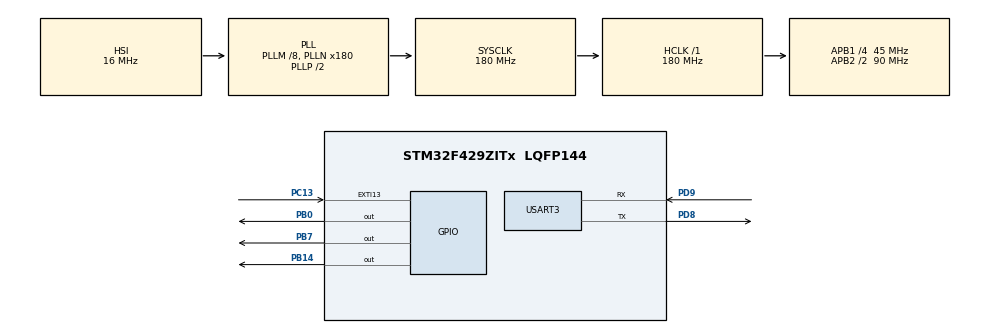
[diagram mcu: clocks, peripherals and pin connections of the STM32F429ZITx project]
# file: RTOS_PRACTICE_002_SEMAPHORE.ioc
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FREERTOS.BinarySemaphores01=myBinarySem01,Dynamic,NULL
FREERTOS.Tasks01=defaultTask,24,128,StartDefaultTask,Default,NULL,Dynamic,NULL,NULL
FREERTOS.configUSE_NEWLIB_REENTRANT=1
Mcu.Family=STM32F4
Mcu.Name=STM32F429ZITx
Mcu.Package=LQFP144
NVIC.EXTI15_10_IRQn=true\:0\:0\:false\:true\:true\:1\:false\:true\:true\:true
NVIC.PriorityGroup=NVIC_PRIORITYGROUP_4
NVIC.TIM5_IRQn=true\:15\:0\:false\:false\:true\:false\:false\:true\:true
NVIC.TimeBase=TIM5_IRQn
NVIC.TimeBaseIP=TIM5
NVIC.USART3_IRQn=true\:5\:0\:false\:true\:true\:2\:true\:true\:true\:true
PA13.Mode=Serial_Wire
PA13.Signal=SYS_JTMS-SWDIO
PA14.Mode=Serial_Wire
PA14.Signal=SYS_JTCK-SWCLK
PB0.Signal=GPIO_Output
PB14.Signal=GPIO_Output
PB7.Signal=GPIO_Output
PC13.Signal=GPXTI13
PC14/OSC32_IN.Mode=LSE-External-Oscillator
PC14/OSC32_IN.Signal=RCC_OSC32_IN
PC15/OSC32_OUT.Mode=LSE-External-Oscillator
PC15/OSC32_OUT.Signal=RCC_OSC32_OUT
PD8.Mode=Asynchronous
PD8.Signal=USART3_TX
PD9.Mode=Asynchronous
PD9.Signal=USART3_RX
ProjectManager.HeapSize=0x200
ProjectManager.StackSize=0x400
ProjectManager.TargetToolchain=STM32CubeIDE
RCC.48MHZClocksFreq_Value=90000000
RCC.AHBFreq_Value=180000000
RCC.APB1CLKDivider=RCC_HCLK_DIV4
RCC.APB1Freq_Value=45000000
RCC.APB1TimFreq_Value=90000000
RCC.APB2CLKDivider=RCC_HCLK_DIV2
RCC.APB2Freq_Value=90000000
RCC.APB2TimFreq_Value=180000000
RCC.CortexFreq_Value=180000000
RCC.HCLKFreq_Value=180000000
RCC.HSE_VALUE=25000000
RCC.HSI_VALUE=16000000
RCC.PLLM=8
RCC.PLLN=180
RCC.RCC_RTC_Clock_Source=RCC_RTCCLKSOURCE_LSE
RCC.SYSCLKFreq_VALUE=180000000
RCC.SYSCLKSource=RCC_SYSCLKSOURCE_PLLCLK
RCC.VCOOutputFreq_Value=360000000
USART3.VirtualMode=VM_ASYNC
VP_FREERTOS_VS_CMSIS_V2.Mode=CMSIS_V2
VP_RTC_VS_RTC_Activate.Mode=RTC_Enabled
VP_SYS_VS_tim5.Mode=TIM5
board=custom

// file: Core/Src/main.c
/* USER CODE BEGIN Header */
/**
  ******************************************************************************
  * @file           : main.c
  * @brief          : Main program body
  ******************************************************************************
  * @attention
  *
  * Copyright (c) 2022 STMicroelectronics.
  * All rights reserved.
  *
  * This software is licensed under terms that can be found in the LICENSE file
  * in the root directory of this software component.
  * If no LICENSE file comes with this software, it is provided AS-IS.
  *
  ******************************************************************************
  */
/* USER CODE END Header */
#include "main.h"
#include "cmsis_os.h"
#include "rtc.h"
#include "usart.h"
#include "gpio.h"

void SystemClock_Config(void);
void MX_FREERTOS_Init(void);
static void MX_NVIC_Init(void);

int main(void)
{

  /* MCU Configuration--------------------------------------------------------*/

  /* Reset of all peripherals, Initializes the Flash interface and the Systick. */
  HAL_Init();

  /* Configure the system clock */
  SystemClock_Config();

  /* Initialize all configured peripherals */
  MX_GPIO_Init();
  MX_RTC_Init();
  MX_USART3_UART_Init();

  /* Initialize interrupts */
  MX_NVIC_Init();

  /* Init scheduler */
  osKernelInitialize();  /* Call init function for freertos objects (in freertos.c) */
  MX_FREERTOS_Init();

  /* Start scheduler */
  osKernelStart();

  /* We should never get here as control is now taken by the scheduler */
  /* Infinite loop */
  while (1)
  {

  }
}

void SystemClock_Config(void)
{
  RCC_OscInitTypeDef RCC_OscInitStruct = {0};
  RCC_ClkInitTypeDef RCC_ClkInitStruct = {0};

  /** Configure the main internal regulator output voltage
  */
  __HAL_RCC_PWR_CLK_ENABLE();
  __HAL_PWR_VOLTAGESCALING_CONFIG(PWR_REGULATOR_VOLTAGE_SCALE1);

  /** Initializes the RCC Oscillators according to the specified parameters
  * in the RCC_OscInitTypeDef structure.
  */
  RCC_OscInitStruct.OscillatorType = RCC_OSCILLATORTYPE_HSI|RCC_OSCILLATORTYPE_LSE;
  RCC_OscInitStruct.LSEState = RCC_LSE_ON;
  RCC_OscInitStruct.HSIState = RCC_HSI_ON;
  RCC_OscInitStruct.HSICalibrationValue = RCC_HSICALIBRATION_DEFAULT;
  RCC_OscInitStruct.PLL.PLLState = RCC_PLL_ON;
  RCC_OscInitStruct.PLL.PLLSource = RCC_PLLSOURCE_HSI;
  RCC_OscInitStruct.PLL.PLLM = 8;
  RCC_OscInitStruct.PLL.PLLN = 180;
  RCC_OscInitStruct.PLL.PLLP = RCC_PLLP_DIV2;
  RCC_OscInitStruct.PLL.PLLQ = 4;
  if (HAL_RCC_OscConfig(&RCC_OscInitStruct) != HAL_OK)
  {
    Error_Handler();
  }

  /** Activate the Over-Drive mode
  */
  if (HAL_PWREx_EnableOverDrive() != HAL_OK)
  {
    Error_Handler();
  }

  /** Initializes the CPU, AHB and APB buses clocks
  */
  RCC_ClkInitStruct.ClockType = RCC_CLOCKTYPE_HCLK|RCC_CLOCKTYPE_SYSCLK
                              |RCC_CLOCKTYPE_PCLK1|RCC_CLOCKTYPE_PCLK2;
  RCC_ClkInitStruct.SYSCLKSource = RCC_SYSCLKSOURCE_PLLCLK;
  RCC_ClkInitStruct.AHBCLKDivider = RCC_SYSCLK_DIV1;
  RCC_ClkInitStruct.APB1CLKDivider = RCC_HCLK_DIV4;
  RCC_ClkInitStruct.APB2CLKDivider = RCC_HCLK_DIV2;

  if (HAL_RCC_ClockConfig(&RCC_ClkInitStruct, FLASH_LATENCY_5) != HAL_OK)
  {
    Error_Handler();
  }
}

/**
  * @brief NVIC Configuration.
  * @retval None
  */
static void MX_NVIC_Init(void)
{
  /* EXTI15_10_IRQn interrupt configuration */
  HAL_NVIC_SetPriority(EXTI15_10_IRQn, 0, 0);
  HAL_NVIC_EnableIRQ(EXTI15_10_IRQn);
  /* USART3_IRQn interrupt configuration */
  HAL_NVIC_SetPriority(USART3_IRQn, 5, 0);
  HAL_NVIC_EnableIRQ(USART3_IRQn);
}

void HAL_TIM_PeriodElapsedCallback(TIM_HandleTypeDef *htim)
{
  if (htim->Instance == TIM5) {
    HAL_IncTick();
  }
}

void Error_Handler(void)
{
  __disable_irq();
  while (1)
  {
  }
}

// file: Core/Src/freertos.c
/* USER CODE BEGIN Header */
/**
  ******************************************************************************
  * File Name          : freertos.c
  * Description        : Code for freertos applications
  ******************************************************************************
  * @attention
  *
  * Copyright (c) 2022 STMicroelectronics.
  * All rights reserved.
  *
  * This software is licensed under terms that can be found in the LICENSE file
  * in the root directory of this software component.
  * If no LICENSE file comes with this software, it is provided AS-IS.
  *
  ******************************************************************************
  */
/* USER CODE END Header */

#include "FreeRTOS.h"
#include "task.h"
#include "main.h"
#include "cmsis_os.h"

/* USER CODE BEGIN Variables */
osThreadId_t LD1_ThreadHandle;
const osThreadAttr_t LD1Task_attributes = {
  .name = "LD1",
  .stack_size = 128 * 4,
  .priority = (osPriority_t) osPriorityNormal,
};

osThreadId_t LD2_ThreadHandle;
const osThreadAttr_t LD2Task_attributes = {
  .name = "LD2",
  .stack_size = 128 * 4,
  .priority = (osPriority_t) osPriorityNormal,
};

/* USER CODE END Variables */
/* Definitions for defaultTask */
osThreadId_t defaultTaskHandle;
const osThreadAttr_t defaultTask_attributes = {
  .name = "defaultTask",
  .stack_size = 128 * 4,
  .priority = (osPriority_t) osPriorityNormal,
};
/* Definitions for myBinarySem01 */
osSemaphoreId_t myBinarySem01Handle;
const osSemaphoreAttr_t myBinarySem01_attributes = {
  .name = "myBinarySem01"
};

/* USER CODE BEGIN FunctionPrototypes */
void LD1Task(void *argument);
void LD2Task(void *argument);

/* USER CODE END FunctionPrototypes */

void StartDefaultTask(void *argument);

void MX_FREERTOS_Init(void); /* (MISRA C 2004 rule 8.1) */

void MX_FREERTOS_Init(void) {

  /* Create the semaphores(s) */
  /* creation of myBinarySem01 */
  myBinarySem01Handle = osSemaphoreNew(1, 1, &myBinarySem01_attributes);

  /* Create the thread(s) */
  /* creation of defaultTask */
  defaultTaskHandle = osThreadNew(StartDefaultTask, NULL, &defaultTask_attributes);

  /* USER CODE BEGIN RTOS_THREADS */
  /* add threads, ... */
  LD1_ThreadHandle = osThreadNew(LD1Task, NULL, &defaultTask_attributes);
  LD2_ThreadHandle = osThreadNew(LD2Task, NULL, &defaultTask_attributes);
  /* USER CODE END RTOS_THREADS */

}

void StartDefaultTask(void *argument)
{
  for(;;)
  {
    osDelay(1);
  }
}

/* USER CODE BEGIN Application */
void LD1Task(void *argument)
{
  /* USER CODE BEGIN StartDefaultTask */
	  uint8_t uart_buf[30];
  /* Infinite loop */
  for(;;)
  {
	  memset(uart_buf,0,sizeof(uart_buf));
	  sprintf(uart_buf,"korea ");
	  osDelay(100);
	  HAL_UART_Transmit(&huart3, uart_buf, sizeof(uart_buf), 0xffff);
  }
  /* USER CODE END StartDefaultTask */
}

void LD2Task(void *argument)
{
  /* USER CODE BEGIN StartDefaultTask */
	  uint8_t uart_buf[30];
  /* Infinite loop */
  for(;;)
  {
	  memset(uart_buf,0,sizeof(uart_buf));
	  sprintf(uart_buf,"polytech\r\n");
	    osDelay(500);
	  HAL_UART_Transmit(&huart3, uart_buf, sizeof(uart_buf), 0xffff);
  }
  /* USER CODE END StartDefaultTask */
}
/* USER CODE END Application */
